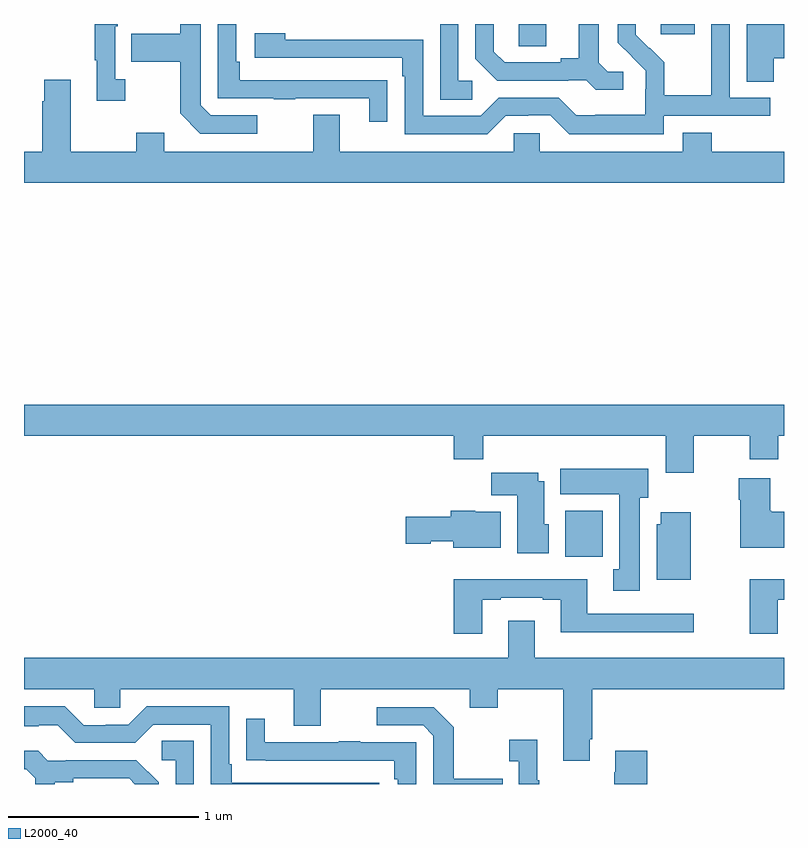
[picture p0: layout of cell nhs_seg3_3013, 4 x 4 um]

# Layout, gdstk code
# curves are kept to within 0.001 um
import gdstk
lib = gdstk.Library(unit=1e-6, precision=1e-09)
def R(c, l, rs):  # rectangles x0, y0, x1, y1
    for r in rs: c.add(gdstk.rectangle(r[:2], r[2:], *l))
def P(c, l, *ps):  # polygons
    for p in ps: c.add(gdstk.Polygon(p, *l))
L2000_40 = (2000, 40)

nhs_seg3_3013 = lib.new_cell('nhs_seg3_3013')
R(nhs_seg3_3013, L2000_40, [(269.849,717.596,270.046,717.838), (269.604,720.283,269.749,720.4), (270.35,720.345,270.529,720.4)])
P(nhs_seg3_3013, L2000_40, [(270.154,720.15),(270.072,720.15),(270.025,720.197),(270.025,720.4),(269.921,720.4),(269.921,720.221),(269.825,720.221),(269.825,720.198),(269.53,720.198),(269.473,720.255),(269.473,720.4),(269.376,720.4),(269.376,720.218),(269.492,720.102),(269.864,720.102),(269.864,720.105),(269.958,720.105),(270.01,720.053),(270.154,720.053)],
  [(269.359,720.102),(269.286,720.102),(269.286,720.4),(269.19,720.4),(269.19,720.001),(269.359,720.001)],
  [(270.366,719.916),(270.928,719.916),(270.928,720.012),(270.714,720.012),(270.714,720.4),(270.618,720.4),(270.618,720.248),(270.616,720.248),(270.616,720.025),(270.371,720.025),(270.371,720.199),(270.294,720.276),(270.291,720.273),(270.221,720.344),(270.221,720.4),(270.126,720.4),(270.126,720.302),(270.272,720.154),(270.272,720.057),(270.27,720.057),(270.27,719.923),(270.007,719.923),(270.007,719.919),(269.907,719.919),(269.814,720.012),(269.499,720.012),(269.403,719.916),(269.1,719.916),(269.1,720.318),(268.376,720.318),(268.376,720.352),(268.215,720.352),(268.215,720.222),(268.991,720.222),(268.991,720.125),(269.004,720.125),(269.004,719.82),(269.439,719.82),(269.535,719.916),(269.654,719.916),(269.654,719.919),(269.769,719.919),(269.869,719.819),(270.366,719.819)],
  [(270.947,720.221),(271,720.221),(271,720.4),(270.803,720.4),(270.803,720.097),(270.947,720.097)],
  [(268.228,719.919),(267.984,719.919),(267.93,719.973),(267.93,720.4),(267.822,720.4),(267.822,720.349),(267.565,720.349),(267.565,720.202),(267.822,720.202),(267.822,719.929),(267.927,719.823),(268.228,719.823)],
  [(268.913,720.104),(268.811,720.104),(268.811,720.105),(268.136,720.105),(268.136,720.202),(268.116,720.202),(268.116,720.4),(268.02,720.4),(268.02,720.009),(268.315,720.009),(268.315,720.004),(268.427,720.004),(268.427,720.009),(268.817,720.009),(268.817,719.886),(268.913,719.886)],
  [(267.532,720.11),(267.48,720.11),(267.48,720.389),(267.493,720.389),(267.493,720.4),(267.372,720.4),(267.372,720.209),(267.383,720.209),(267.383,719.997),(267.532,719.997)],
  [(271,719.728),(270.62,719.728),(270.62,719.827),(270.467,719.827),(270.467,719.728),(269.715,719.728),(269.715,719.826),(269.577,719.826),(269.577,719.728),(268.663,719.728),(268.663,719.923),(268.523,719.923),(268.523,719.728),(267.739,719.728),(267.739,719.827),(267.592,719.827),(267.592,719.728),(267.247,719.728),(267.247,720.106),(267.107,720.106),(267.107,719.993),(267.095,719.993),(267.095,719.728),(267,719.728),(267,719.564),(271,719.564)],
  [(270.525,718.232),(270.82,718.232),(270.82,718.108),(270.971,718.108),(270.971,718.232),(271,718.232),(271,718.396),(267,718.396),(267,718.232),(269.261,718.232),(269.261,718.108),(269.417,718.108),(269.417,718.232),(270.377,718.232),(270.377,718.038),(270.525,718.038)],
  [(270.241,717.906),(270.286,717.906),(270.286,718.06),(269.822,718.06),(269.822,717.926),(270.134,717.926),(270.134,717.53),(270.101,717.53),(270.101,717.417),(270.241,717.417)],
  [(269.761,717.768),(269.737,717.768),(269.737,717.994),(269.707,717.994),(269.707,718.039),(269.458,718.039),(269.458,717.92),(269.597,717.92),(269.597,717.614),(269.761,717.614)],
  [(271,717.832),(270.934,717.832),(270.934,717.838),(270.928,717.838),(270.928,718.009),(270.763,718.009),(270.763,717.896),(270.77,717.896),(270.77,717.644),(271,717.644)],
  [(269.509,717.832),(269.376,717.832),(269.376,717.838),(269.246,717.838),(269.246,717.807),(269.01,717.807),(269.01,717.665),(269.142,717.665),(269.142,717.677),(269.258,717.677),(269.258,717.644),(269.509,717.644)],
  [(270.508,717.829),(270.35,717.829),(270.35,717.768),(270.329,717.768),(270.329,717.476),(270.508,717.476)],
  [(270.967,717.369),(271,717.369),(271,717.478),(270.82,717.478),(270.82,717.192),(270.967,717.192)],
  [(269.413,717.369),(269.509,717.369),(269.509,717.381),(269.729,717.381),(269.729,717.369),(269.825,717.369),(269.825,717.2),(270.526,717.2),(270.526,717.297),(269.965,717.297),(269.965,717.478),(269.261,717.478),(269.261,717.192),(269.413,717.192)],
  [(269.977,716.635),(269.99,716.635),(269.99,716.9),(271,716.9),(271,717.064),(269.689,717.064),(269.689,717.259),(269.549,717.259),(269.549,717.064),(267,717.064),(267,716.9),(267.369,716.9),(267.369,716.802),(267.507,716.802),(267.507,716.9),(268.421,716.9),(268.421,716.706),(268.561,716.706),(268.561,716.9),(269.345,716.9),(269.345,716.801),(269.493,716.801),(269.493,716.9),(269.837,716.9),(269.837,716.523),(269.977,716.523)],
  [(268.87,716.406),(268.093,716.406),(268.093,716.503),(268.08,716.503),(268.08,716.808),(267.645,716.808),(267.549,716.712),(267.431,716.712),(267.431,716.709),(267.315,716.709),(267.215,716.809),(267,716.809),(267,716.705),(267.077,716.705),(267.077,716.709),(267.177,716.709),(267.27,716.616),(267.585,716.616),(267.681,716.712),(267.984,716.712),(267.984,716.4),(268.87,716.4)],
  [(269.519,716.427),(269.263,716.427),(269.263,716.699),(269.157,716.805),(268.857,716.805),(268.857,716.709),(269.1,716.709),(269.154,716.655),(269.154,716.4),(269.519,716.4)],
  [(269.064,716.619),(268.769,716.619),(268.769,716.624),(268.657,716.624),(268.657,716.619),(268.267,716.619),(268.267,716.743),(268.171,716.743),(268.171,716.524),(268.273,716.524),(268.273,716.523),(268.948,716.523),(268.948,716.426),(268.968,716.426),(268.968,716.4),(269.064,716.4)],
  [(269.713,716.419),(269.701,716.419),(269.701,716.632),(269.553,716.632),(269.553,716.519),(269.604,716.519),(269.604,716.4),(269.713,716.4)],
  [(267.894,716.627),(267.726,716.627),(267.726,716.526),(267.798,716.526),(267.798,716.4),(267.894,716.4)],
  [(270.281,716.575),(270.113,716.575),(270.113,716.462),(270.106,716.462),(270.106,716.4),(270.281,716.4)],
  [(267.163,716.408),(267.259,716.408),(267.259,716.43),(267.554,716.43),(267.584,716.4),(267.708,716.4),(267.708,716.41),(267.592,716.526),(267.22,716.526),(267.22,716.523),(267.126,716.523),(267.074,716.575),(267,716.575),(267,716.478),(267.012,716.478),(267.059,716.431),(267.059,716.4),(267.163,716.4)])

lib.write_gds('nhs_seg3_3013.gds')
